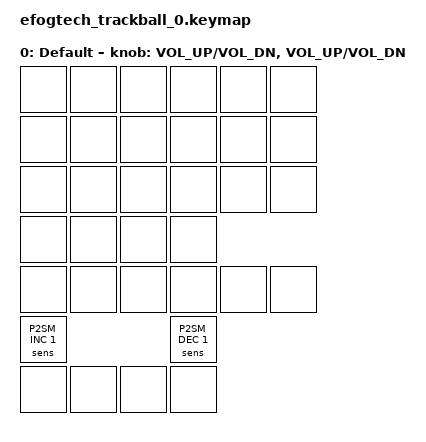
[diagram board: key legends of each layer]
/*
 * Trackball peripheral keymap for use with custom_22 dongle.
 * Overrides the board's native 12-position transform to offset
 * positions by 22 (keyboard occupies 0-21).
 */

#include <behaviors.dtsi>
#include <dt-bindings/zmk/keys.h>
#include <dt-bindings/zmk/pointing.h>
#include <dt-bindings/zmk/p2sm.h>
#include <dt-bindings/zmk/matrix_transform.h>

#define TWIST_MULTIPLIER   1
#define TWIST_DIVISOR      10

&default_transform {
    columns = <1>;
    rows = <34>;
    row-offset = <22>;
    map = <
        /* 0-21: keyboard position space (padding) */
        RC(0,0)  RC(1,0)  RC(2,0)  RC(3,0)  RC(4,0)  RC(5,0)
        RC(6,0)  RC(7,0)  RC(8,0)  RC(9,0)  RC(10,0) RC(11,0)
        RC(12,0) RC(13,0) RC(14,0) RC(15,0) RC(16,0) RC(17,0)
        RC(18,0) RC(19,0) RC(20,0) RC(21,0)
        /* 22-33: trackball buttons + encoders */
        RC(22,0) RC(23,0) RC(24,0) RC(25,0) RC(26,0) RC(27,0)
        RC(28,0) RC(29,0) RC(30,0) RC(31,0) RC(32,0) RC(33,0)
    >;
};

/ {
    keymap {
        compatible = "zmk,keymap";

        default_layer {
            display-name = "Default";
            sensor-bindings = <&inc_dec_kp C_VOL_UP C_VOL_DN &inc_dec_kp C_VOL_UP C_VOL_DN>;
            bindings = <
                /* 0-21: keyboard space (unused by trackball) */
                &none &none &none &none &none &none
                &none &none &none &none &none &none
                &none &none &none &none &none &none
                &none &none &none &none
                /* 22-29: trackball buttons */
                &none &none &none &none &none &none
                &sens P2SM_INC 1 &sens P2SM_DEC 1
                /* 30-33: encoders */
                &none &none &none &none
            >;
        };
    };
};
